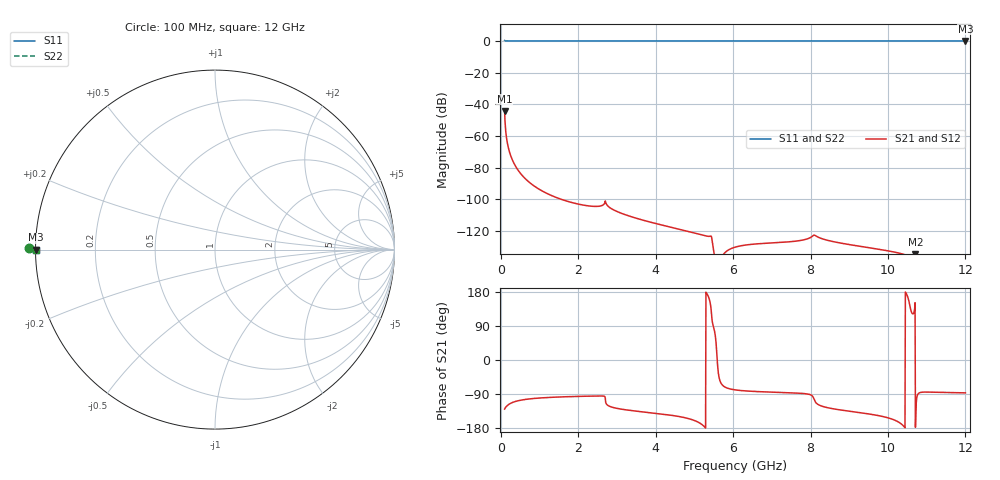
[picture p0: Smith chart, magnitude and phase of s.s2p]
! S2P File: Measurements: S-parameters
# Hz S RI R 50
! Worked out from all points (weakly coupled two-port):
!   1191 points, 100 MHz to 12 GHz, reference 50 ohm
!   highest |S21| = -44.18 dB at 100 MHz (marker M1); lowest = -164.3 dB at 10.71 GHz (marker M2)
!   lowest |S11| = 0.0 dB at 12 GHz (marker M3)
!   |S11| at or under -10 dB: nowhere
!   |S22| runs from 0.0 to 0.3 dB; largest |S21 - S12| = 4.5e-19
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1e8  -1.035 0.0117  -0.00393 -0.00477  -0.00393 -0.00477  -1.035 0.0117
1.1e8  -1.018 0.00555  -0.00178 -0.00232  -0.00178 -0.00232  -1.018 0.00556
1.3e8  -1.009 0.0026  -0.000769 -0.00112  -0.000769 -0.00112  -1.009 0.0026
1.6e8  -1.005 0.00136  -0.000368 -0.000608  -0.000368 -0.000608  -1.005 0.00137
1.7e8  -1.005 0.00116  -0.000304 -0.000523  -0.000304 -0.000523  -1.005 0.00116
1.9e8  -1.004 0.000886  -0.000219 -0.000404  -0.000219 -0.000404  -1.004 0.000886
2.2e8  -1.003 0.000637  -0.000146 -0.000295  -0.000146 -0.000295  -1.003 0.000638
2.4e8  -1.003 0.00053  -0.000116 -0.000248  -0.000116 -0.000248  -1.003 0.00053
2.7e8  -1.002 0.000416  -8.59e-05 -0.000197  -8.59e-05 -0.000197  -1.002 0.000417
3.2e8  -1.002 0.000298  -5.62e-05 -0.000143  -5.62e-05 -0.000143  -1.002 0.000299
3.5e8  -1.001 0.000252  -4.51e-05 -0.000122  -4.51e-05 -0.000122  -1.001 0.000252
3.7e8  -1.001 0.000227  -3.94e-05 -0.00011  -3.94e-05 -0.00011  -1.001 0.000227
3.9e8  -1.001 0.000206  -3.47e-05 -0.0001  -3.47e-05 -0.0001  -1.001 0.000206
4.2e8  -1.001 0.000179  -2.9e-05 -8.79e-05  -2.9e-05 -8.79e-05  -1.001 0.000179
4.6e8  -1.001 0.000152  -2.33e-05 -7.49e-05  -2.33e-05 -7.49e-05  -1.001 0.000152
2.09e9  -1 9.68e-06  -6.72e-07 -6.61e-06  -6.72e-07 -6.61e-06  -1 9.69e-06
4.07e9  -1 2.19e-06  -1.27e-06 -1.01e-06  -1.27e-06 -1.01e-06  -1 2.22e-06
6.05e9  -1 7.31e-07  5.92e-08 -2.98e-07  5.92e-08 -2.98e-07  -1 7.6e-07
8.04e9  -1 6.48e-07  -4.96e-08 -6.63e-07  -4.96e-08 -6.63e-07  -1 6.61e-07
1.002e10  -1 2.69e-07  -2.06e-07 -1.04e-07  -2.06e-07 -1.04e-07  -1 2.81e-07
1.071e10  -1 6.78e-08  -6.12e-09 -2.46e-10  -6.12e-09 -2.46e-10  -1 8.05e-08
1.2e10  -1 2.9e-07  7.38e-09 -1.3e-07  7.38e-09 -1.3e-07  -1 2.99e-07
